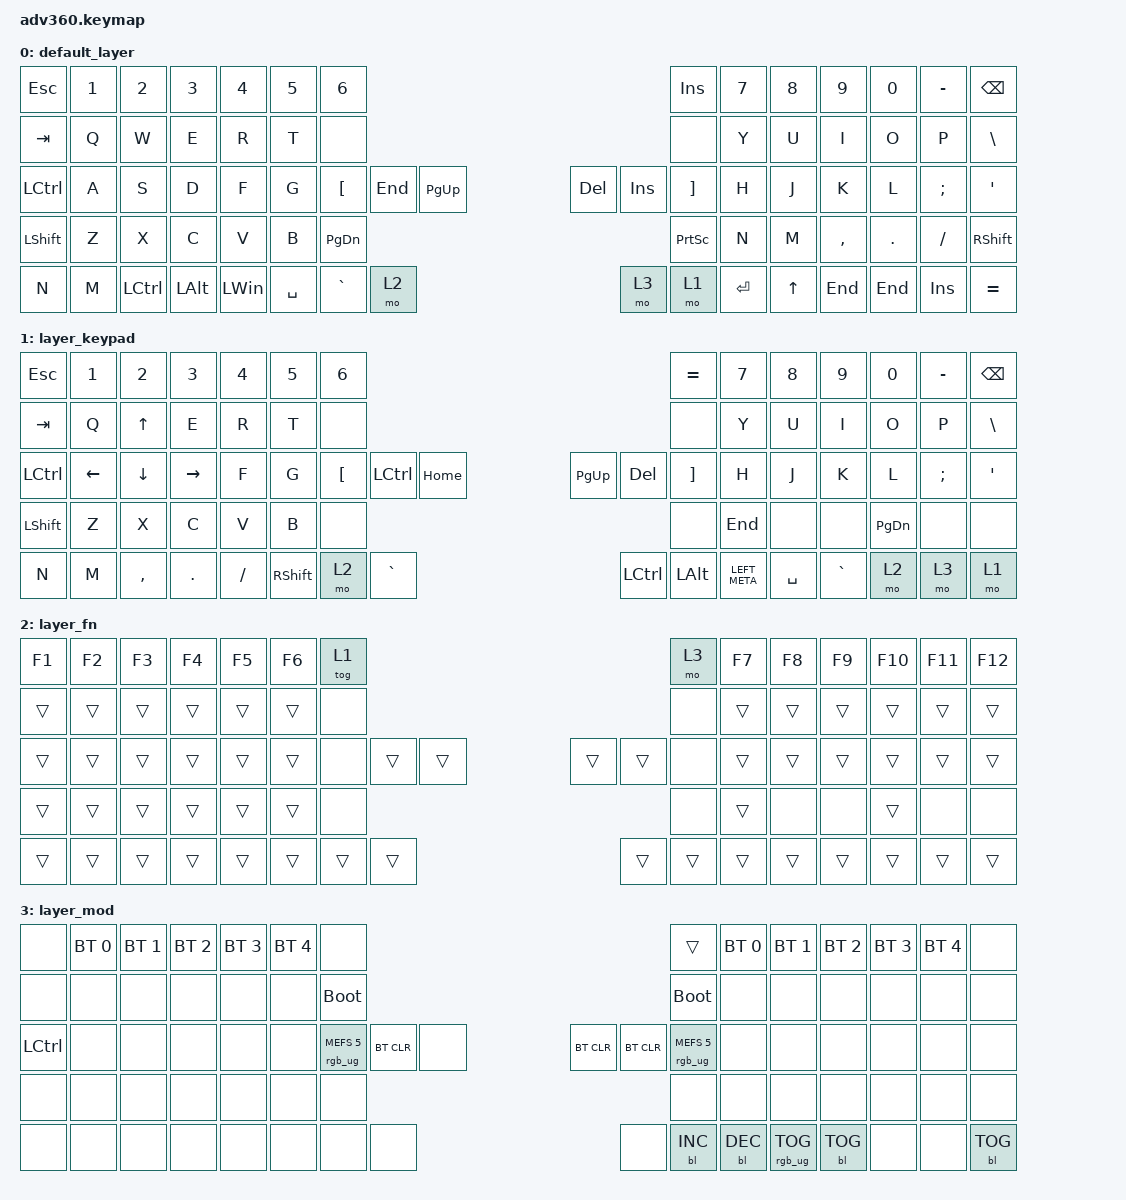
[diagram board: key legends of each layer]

/*
 * Copyright (c) 2020 The ZMK Contributors
 *
 * SPDX-License-Identifier: MIT
 */


/* THIS FILE WAS GENERATED!
 *
 * This file was generated automatically. You may or may not want to
 * edit it directly.
 */

#include <behaviors.dtsi>
#include <dt-bindings/zmk/keys.h>
#include <dt-bindings/zmk/bt.h>
#include <dt-bindings/zmk/rgb.h>
#include <dt-bindings/zmk/backlight.h>

/ {
  behaviors {
    #include "macros.dtsi"
    #include "version.dtsi"

    hm: homerow_mods {
        compatible = "zmk,behavior-hold-tap";
        label = "HOMEROW_MODS";
        #binding-cells = <2>;
        tapping-term-ms = <200>;
        quick_tap_ms = <175>;
        flavor = "tap-preferred";
        bindings = <&kp>, <&kp>;
    };
  };

    keymap {
        compatible = "zmk,keymap";


        default_layer {
            bindings = <
          &kp ESC  &kp N1     &kp N2        &kp N3        &kp N4  &kp N5                &kp NUMBER_6                                                                                &kp INSERT  &kp N7        &kp N8     &kp N9   &kp N0  &kp MINUS    &kp BACKSPACE
          &kp TAB   &kp Q      &kp W         &kp E         &kp R   &kp T                       &none                                                                                     &none   &kp Y         &kp U      &kp I    &kp O      &kp P         &kp BSLH
 &kp LEFT_CONTROL   &kp A      &kp S         &kp D         &kp F   &kp G            &kp LEFT_BRACKET    &kp END    &kp PAGE_UP                          &kp DEL  &kp INSERT  &kp RIGHT_BRACKET   &kp H         &kp J      &kp K    &kp L   &kp SEMI          &kp SQT
        &kp LSHFT   &kp Z      &kp X         &kp C         &kp V   &kp B                                         &kp PAGE_DOWN                  &kp PRINTSCREEN                                  &kp N         &kp M  &kp COMMA  &kp DOT  &kp SLASH  &kp RIGHT_SHIFT
            &kp N   &kp M  &kp LCTRL  &kp LEFT_ALT  &kp LEFT_WIN                           &kp SPACE  &kp GRAVE          &mo 2                            &mo 3       &mo 1          &kp ENTER          &kp UP_ARROW    &kp END  &kp END    &kp INS        &kp EQUAL
            >;
        };

        layer_keypad {
            bindings = <
          &kp ESC          &kp N1          &kp N2           &kp N3    &kp N4  &kp N5                &kp NUMBER_6                                                                                &kp EQUAL   &kp N7     &kp N8     &kp N9         &kp N0  &kp MINUS  &kp BACKSPACE
          &kp TAB           &kp Q    &kp UP_ARROW            &kp E     &kp R   &kp T                       &none                                                                                    &none    &kp Y      &kp U      &kp I          &kp O      &kp P       &kp BSLH
 &kp LEFT_CONTROL  &kp LEFT_ARROW  &kp DOWN_ARROW  &kp RIGHT_ARROW     &kp F   &kp G            &kp LEFT_BRACKET  &kp LCTRL   &kp HOME                       &kp PAGE_UP    &kp DELETE  &kp RIGHT_BRACKET    &kp H      &kp J      &kp K          &kp L   &kp SEMI        &kp SQT
        &kp LSHFT           &kp Z           &kp X            &kp C     &kp V   &kp B                                             &none                             &none                                   &kp END      &none      &none  &kp PAGE_DOWN      &none          &none
            &kp N           &kp M       &kp COMMA          &kp DOT  &kp FSLH                           &kp RSHFT      &mo 2  &kp GRAVE                  &kp LEFT_CONTROL  &kp LEFT_ALT      &kp LEFT_META           &kp SPACE  &kp GRAVE          &mo 2      &mo 3          &mo 1
            >;
        };

        layer_fn {
            bindings = <
 &kp F1  &kp F2  &kp F3  &kp F4  &kp F5  &kp F6            &tog 1                                                   &mo 3  &kp F7  &kp F8  &kp F9  &kp F10  &kp F11  &kp F12
 &trans  &trans  &trans  &trans  &trans  &trans             &none                                                   &none  &trans  &trans  &trans   &trans   &trans   &trans
 &trans  &trans  &trans  &trans  &trans  &trans             &none  &trans  &trans                  &trans  &trans   &none  &trans  &trans  &trans   &trans   &trans   &trans
 &trans  &trans  &trans  &trans  &trans  &trans                             &none                   &none                  &trans   &none   &none   &trans    &none    &none
 &trans  &trans  &trans  &trans  &trans                    &trans  &trans  &trans                  &trans  &trans  &trans          &trans  &trans   &trans   &trans   &trans
            >;
        };

        layer_mod {
            bindings = <
            &none  &bt BT_SEL 0  &bt BT_SEL 1  &bt BT_SEL 2  &bt BT_SEL 3  &bt BT_SEL 4                             &none                                                                              &trans  &bt BT_SEL 0     &bt BT_SEL 1  &bt BT_SEL 2  &bt BT_SEL 3  &bt BT_SEL 4       &none
            &none         &none         &none         &none         &none         &none                       &bootloader                                                                         &bootloader         &none            &none         &none         &none         &none       &none
 &kp LEFT_CONTROL         &none         &none         &none         &none         &none            &rgb_ug RGB_MEFS_CMD 5  &bt BT_CLR   &none                  &bt BT_CLR  &bt BT_CLR  &rgb_ug RGB_MEFS_CMD 5         &none            &none         &none         &none         &none       &none
            &none         &none         &none         &none         &none         &none                                                 &none                       &none                                             &none            &none         &none         &none         &none       &none
            &none         &none         &none         &none         &none                                           &none       &none   &none                       &none  &bl BL_INC              &bl BL_DEC                &rgb_ug RGB_TOG    &bl BL_TOG         &none         &none  &bl BL_TOG
            >;
        };

    };
};
